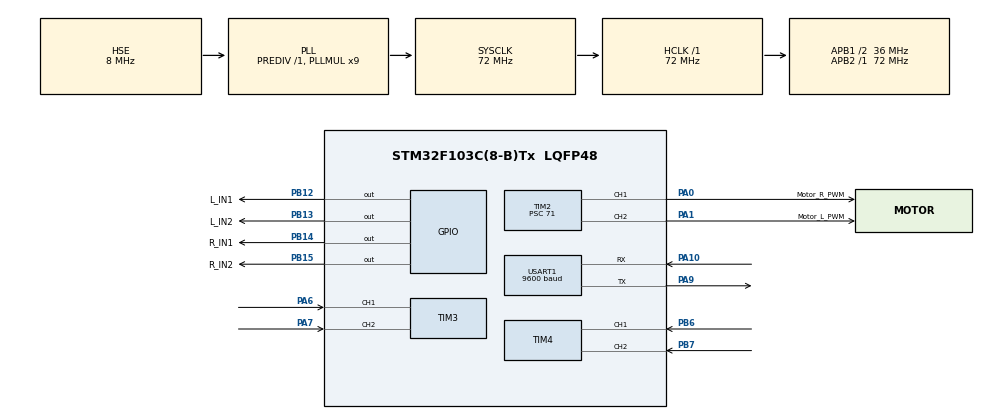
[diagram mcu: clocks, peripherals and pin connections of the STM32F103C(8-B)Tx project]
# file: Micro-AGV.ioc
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Mcu.Family=STM32F1
Mcu.Name=STM32F103C(8-B)Tx
Mcu.Package=LQFP48
NVIC.PriorityGroup=NVIC_PRIORITYGROUP_4
NVIC.USART1_IRQn=true\:0\:0\:false\:false\:true\:true\:true\:true
PA0-WKUP.GPIO_Label=Motor_R_PWM
PA0-WKUP.Signal=S_TIM2_CH1_ETR
PA1.GPIO_Label=Motor_L_PWM
PA1.Signal=S_TIM2_CH2
PA10.Mode=Asynchronous
PA10.Signal=USART1_RX
PA13.Mode=Serial_Wire
PA13.Signal=SYS_JTMS-SWDIO
PA14.Mode=Serial_Wire
PA14.Signal=SYS_JTCK-SWCLK
PA6.Signal=S_TIM3_CH1
PA7.Signal=S_TIM3_CH2
PA9.Mode=Asynchronous
PA9.Signal=USART1_TX
PB12.GPIO_Label=L_IN1
PB12.Signal=GPIO_Output
PB13.GPIO_Label=L_IN2
PB13.Signal=GPIO_Output
PB14.GPIO_Label=R_IN1
PB14.Signal=GPIO_Output
PB15.GPIO_Label=R_IN2
PB15.Signal=GPIO_Output
PB6.Signal=S_TIM4_CH1
PB7.Signal=S_TIM4_CH2
PD0-OSC_IN.Mode=HSE-External-Oscillator
PD0-OSC_IN.Signal=RCC_OSC_IN
PD1-OSC_OUT.Mode=HSE-External-Oscillator
PD1-OSC_OUT.Signal=RCC_OSC_OUT
ProjectManager.HeapSize=0x200
ProjectManager.StackSize=0x400
ProjectManager.TargetToolchain=MDK-ARM V5.32
RCC.AHBFreq_Value=72000000
RCC.APB1CLKDivider=RCC_HCLK_DIV2
RCC.APB1Freq_Value=36000000
RCC.APB1TimFreq_Value=72000000
RCC.APB2Freq_Value=72000000
RCC.APB2TimFreq_Value=72000000
RCC.HCLKFreq_Value=72000000
RCC.PLLMUL=RCC_PLL_MUL9
RCC.PLLSourceVirtual=RCC_PLLSOURCE_HSE
RCC.SYSCLKFreq_VALUE=72000000
RCC.SYSCLKSource=RCC_SYSCLKSOURCE_PLLCLK
RCC.USBFreq_Value=72000000
SH.S_TIM2_CH1_ETR.0=TIM2_CH1,PWM Generation1 CH1
SH.S_TIM2_CH2.0=TIM2_CH2,PWM Generation2 CH2
SH.S_TIM3_CH1.0=TIM3_CH1,Encoder_Interface
SH.S_TIM3_CH2.0=TIM3_CH2,Encoder_Interface
SH.S_TIM4_CH1.0=TIM4_CH1,Encoder_Interface
SH.S_TIM4_CH2.0=TIM4_CH2,Encoder_Interface
TIM2.Channel-PWM\ Generation1\ CH1=TIM_CHANNEL_1
TIM2.Channel-PWM\ Generation2\ CH2=TIM_CHANNEL_2
TIM2.Period=999
TIM2.Prescaler=71
USART1.BaudRate=9600
USART1.VirtualMode=VM_ASYNC
VP_TIM2_VS_ClockSourceINT.Mode=Internal
board=custom

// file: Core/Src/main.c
/* USER CODE BEGIN Header */
/**
 ******************************************************************************
 * @file           : main.c
 * @brief          : Main program body
 ******************************************************************************
 * @attention
 *
 * Copyright (c) 2025 STMicroelectronics.
 * All rights reserved.
 *
 * This software is licensed under terms that can be found in the LICENSE file
 * in the root directory of this software component.
 * If no LICENSE file comes with this software, it is provided AS-IS.
 *
 ******************************************************************************
 */
/* USER CODE END Header */
#include "main.h"

/* USER CODE BEGIN Includes */
#include <math.h>
#include <stdlib.h> // 用于 abs() 函数
#include <string.h>

/* USER CODE END Includes */

TIM_HandleTypeDef htim2;
TIM_HandleTypeDef htim3;
TIM_HandleTypeDef htim4;

UART_HandleTypeDef huart1;

void SystemClock_Config(void);
static void MX_GPIO_Init(void);
static void MX_TIM2_Init(void);
static void MX_USART1_UART_Init(void);
static void MX_TIM3_Init(void);
static void MX_TIM4_Init(void);
/* USER CODE BEGIN PFP */
void Control_Loop(void);
void Set_Motor_Speed(int speed_L, int speed_R);
/* USER CODE END PFP */

/* USER CODE BEGIN 0 */

// --- 硬件调试参数 ---
// 如果发现轮子转动方向相反，或者 PID 导致飞车（正反馈），将对应的 1 改为 -1
#define MOTOR_L_POLARITY 1
#define MOTOR_R_POLARITY 1

// --- 电机引脚控制宏 ---
#define MOTOR_L_FWD()                                                          \
  {                                                                            \
    HAL_GPIO_WritePin(L_IN1_GPIO_Port, L_IN1_Pin, 1);                          \
    HAL_GPIO_WritePin(L_IN2_GPIO_Port, L_IN2_Pin, 0);                          \
  }
#define MOTOR_L_BWD()                                                          \
  {                                                                            \
    HAL_GPIO_WritePin(L_IN1_GPIO_Port, L_IN1_Pin, 0);                          \
    HAL_GPIO_WritePin(L_IN2_GPIO_Port, L_IN2_Pin, 1);                          \
  }
#define MOTOR_L_STOP()                                                         \
  {                                                                            \
    HAL_GPIO_WritePin(L_IN1_GPIO_Port, L_IN1_Pin, 0);                          \
    HAL_GPIO_WritePin(L_IN2_GPIO_Port, L_IN2_Pin, 0);                          \
  }

#define MOTOR_R_FWD()                                                          \
  {                                                                            \
    HAL_GPIO_WritePin(R_IN1_GPIO_Port, R_IN1_Pin, 1);                          \
    HAL_GPIO_WritePin(R_IN2_GPIO_Port, R_IN2_Pin, 0);                          \
  }
#define MOTOR_R_BWD()                                                          \
  {                                                                            \
    HAL_GPIO_WritePin(R_IN1_GPIO_Port, R_IN1_Pin, 0);                          \
    HAL_GPIO_WritePin(R_IN2_GPIO_Port, R_IN2_Pin, 1);                          \
  }
#define MOTOR_R_STOP()                                                         \
  {                                                                            \
    HAL_GPIO_WritePin(R_IN1_GPIO_Port, R_IN1_Pin, 0);                          \
    HAL_GPIO_WritePin(R_IN2_GPIO_Port, R_IN2_Pin, 0);                          \
  }

// --- PWM 与死区设置 ---
#define PWM_MAX_VALUE 1799
#define MOTOR_DEAD_ZONE 200 // 电机死区补偿值 (根据实测调整，通常 150-300)

// 设置电机速度 (输入范围: -1799 到 1799)
void Set_Motor_Speed(int pwm_L, int pwm_R) {
  // --- 左轮控制 ---
  int out_L = pwm_L;
  // 死区补偿：如果有输出，则加上死区值
  if (out_L > 0)
    out_L += MOTOR_DEAD_ZONE;
  else if (out_L < 0)
    out_L -= MOTOR_DEAD_ZONE;

  // 限幅
  if (out_L > PWM_MAX_VALUE)
    out_L = PWM_MAX_VALUE;
  if (out_L < -PWM_MAX_VALUE)
    out_L = -PWM_MAX_VALUE;

  // 驱动硬件
  if (out_L > 0)
    MOTOR_L_FWD()
  else if (out_L < 0)
    MOTOR_L_BWD()
  else
    MOTOR_L_STOP();

  __HAL_TIM_SET_COMPARE(&htim2, TIM_CHANNEL_2, abs(out_L));

  // --- 右轮控制 ---
  int out_R = pwm_R;
  if (out_R > 0)
    out_R += MOTOR_DEAD_ZONE;
  else if (out_R < 0)
    out_R -= MOTOR_DEAD_ZONE;

  if (out_R > PWM_MAX_VALUE)
    out_R = PWM_MAX_VALUE;
  if (out_R < -PWM_MAX_VALUE)
    out_R = -PWM_MAX_VALUE;

  if (out_R > 0)
    MOTOR_R_FWD()
  else if (out_R < 0)
    MOTOR_R_BWD()
  else
    MOTOR_R_STOP();

  __HAL_TIM_SET_COMPARE(&htim2, TIM_CHANNEL_1, abs(out_R));
}

// --- 物理参数 ---
#define PULSE_PER_TURN 2060.0f // 编码器每圈脉冲数
#define WHEEL_DIAMETER 0.064f  // 轮子直径 64mm
#define WHEEL_CIRCUMFERENCE (3.14159f * WHEEL_DIAMETER)
#define CONTROL_PERIOD 50 // 控制周期 50ms

// 速度转换系数: (脉冲数 -> m/s)
const float SPEED_RATIO =
    (WHEEL_CIRCUMFERENCE / PULSE_PER_TURN) * (1000.0f / CONTROL_PERIOD);

// 编码器历史值
int16_t last_count_L = 0;
int16_t last_count_R = 0;

// --- 速度控制变量 ---
// final_speed: 蓝牙下达的最终目标速度
volatile float final_speed_L = 0.0f;
volatile float final_speed_R = 0.0f;
// ramped_speed: 送给 PID 的平滑后目标速度 (解决起步猛冲)
float ramped_speed_L = 0.0f;
float ramped_speed_R = 0.0f;
// current_speed: 实际测量速度
float current_speed_L = 0.0f;
float current_speed_R = 0.0f;

// --- 平滑启动参数 ---
// 加速度限制: 每次 50ms 周期速度变化不超过 0.02m/s
// 相当于 0.4 m/s^2 的加速度，起步会很柔和
#define ACCEL_STEP 0.02f

// --- 安全看门狗 ---
uint32_t last_rx_time = 0; // 上一次收到串口数据的时间戳
#define COM_TIMEOUT 500    // 超时时间 500ms (验收标准要求具备自动急停)

// PID 结构体
typedef struct {
  float Kp, Ki, Kd;
  float prev_error;
  float integral;
  float i_limit;
} PID_t;

// PID 参数 (针对 JGA25-370 调整)
// Kp: 响应力度, Ki: 消除静态误差(跑直线的关键), Kd: 抑制震荡
PID_t pid_L = {600.0f, 78.0f, 0.0f, 0.0f, 0.0f, 1500.0f};
PID_t pid_R = {600.0f, 80.0f, 0.0f, 0.0f, 0.0f, 1500.0f};

uint32_t last_time = 0;

// 串口变量
// 接收缓冲区，用于 HAL_UART_Receive_IT
uint8_t rx_buffer[1];
// 数据帧缓冲区，用于存储接收到的完整数据帧
uint8_t data_buffer[10];
// 数据帧当前接收到的字节数
uint8_t data_index = 0;
// 串口接收状态机
#define STATE_WAIT_HEADER 0
#define STATE_RECEIVE_BODY 1
uint8_t rx_state = STATE_WAIT_HEADER;

// 电机方向定义 (根据实际接线调整 1 或 -1)
#define MOTOR_L_POLARITY 1
#define MOTOR_R_POLARITY 1

// 运动模式定义
#define MODE_SPEED 0x01 // 速度控制模式
#define MODE_TURN_ANGLE 0x02 // 转向角度控制模式
#define MODE_TURN_LEFT 0x03 // 左转模式
#define MODE_TURN_RIGHT 0x04 // 右转模式
#define MODE_ROTATE_LEFT 0x05 // 左自转模式
#define MODE_ROTATE_RIGHT 0x06 // 右自转模式

// 转向控制变量
volatile float target_angle = 0.0f; // 目标转向角度 (度)
/* USER CODE END 0 */

int main(void) {

  /* MCU Configuration--------------------------------------------------------*/

  /* Reset of all peripherals, Initializes the Flash interface and the Systick.
   */
  HAL_Init();

  /* Configure the system clock */
  SystemClock_Config();

  /* Initialize all configured peripherals */
  MX_GPIO_Init();
  MX_TIM2_Init();
  MX_USART1_UART_Init();
  MX_TIM3_Init();
  MX_TIM4_Init();
  /* USER CODE BEGIN 2 */

  // --- 强制初始化 PA0 和 PA1 为复用推挽输出 (PWM模式) ---
  // 1. 开启 GPIOA 时钟
  __HAL_RCC_GPIOA_CLK_ENABLE();

  GPIO_InitTypeDef GPIO_InitStruct = {0};

  // 2. 配置 PA0 (TIM2_CH1) 和 PA1 (TIM2_CH2)
  GPIO_InitStruct.Pin = GPIO_PIN_0 | GPIO_PIN_1;
  GPIO_InitStruct.Mode = GPIO_MODE_AF_PP; // 关键：复用推挽输出
  GPIO_InitStruct.Speed = GPIO_SPEED_FREQ_HIGH;
  HAL_GPIO_Init(GPIOA, &GPIO_InitStruct);

  // 1. 开启 PWM 输出
  HAL_TIM_PWM_Start(&htim2, TIM_CHANNEL_1);
  HAL_TIM_PWM_Start(&htim2, TIM_CHANNEL_2);

  // 2. 开启编码器计数模式
  HAL_TIM_Encoder_Start(&htim3, TIM_CHANNEL_ALL);
  HAL_TIM_Encoder_Start(&htim4, TIM_CHANNEL_ALL);

  // 开启串口中断
  HAL_UART_Receive_IT(&huart1, rx_buffer, 1);

  // 初始化看门狗时间
  last_rx_time = HAL_GetTick();

  // 初始化编码器计数器为0，防止启动时有随机值
  __HAL_TIM_SET_COUNTER(&htim3, 0);
  __HAL_TIM_SET_COUNTER(&htim4, 0);

  // 5. 初始化时间戳
  last_time = HAL_GetTick();

  /* USER CODE END 2 */

  /* Infinite loop */
  /* USER CODE BEGIN WHILE */
  // HAL_GPIO_WritePin(GPIOA, GPIO_PIN_0, GPIO_PIN_SET);
  // GPIOA->CRL &= 0xFFFFFFF0; GPIOA->CRL |= 0x00000003; GPIOA->ODR |= 1;
  while (1) {
    // 50ms 控制周期
    if (HAL_GetTick() - last_time >= CONTROL_PERIOD) {
      last_time = HAL_GetTick();
      Control_Loop();
    }

    /* USER CODE END WHILE */

  }
}

void SystemClock_Config(void) {
  RCC_OscInitTypeDef RCC_OscInitStruct = {0};
  RCC_ClkInitTypeDef RCC_ClkInitStruct = {0};

  /** Initializes the RCC Oscillators according to the specified parameters
   * in the RCC_OscInitTypeDef structure.
   */
  RCC_OscInitStruct.OscillatorType = RCC_OSCILLATORTYPE_HSE;
  RCC_OscInitStruct.HSEState = RCC_HSE_ON;
  RCC_OscInitStruct.HSEPredivValue = RCC_HSE_PREDIV_DIV1;
  RCC_OscInitStruct.HSIState = RCC_HSI_ON;
  RCC_OscInitStruct.PLL.PLLState = RCC_PLL_ON;
  RCC_OscInitStruct.PLL.PLLSource = RCC_PLLSOURCE_HSE;
  RCC_OscInitStruct.PLL.PLLMUL = RCC_PLL_MUL9;
  if (HAL_RCC_OscConfig(&RCC_OscInitStruct) != HAL_OK) {
    Error_Handler();
  }

  /** Initializes the CPU, AHB and APB buses clocks
   */
  RCC_ClkInitStruct.ClockType = RCC_CLOCKTYPE_HCLK | RCC_CLOCKTYPE_SYSCLK |
                                RCC_CLOCKTYPE_PCLK1 | RCC_CLOCKTYPE_PCLK2;
  RCC_ClkInitStruct.SYSCLKSource = RCC_SYSCLKSOURCE_PLLCLK;
  RCC_ClkInitStruct.AHBCLKDivider = RCC_SYSCLK_DIV1;
  RCC_ClkInitStruct.APB1CLKDivider = RCC_HCLK_DIV2;
  RCC_ClkInitStruct.APB2CLKDivider = RCC_HCLK_DIV1;

  if (HAL_RCC_ClockConfig(&RCC_ClkInitStruct, FLASH_LATENCY_2) != HAL_OK) {
    Error_Handler();
  }
}

static void MX_TIM2_Init(void) {
  TIM_ClockConfigTypeDef sClockSourceConfig = {0};
  TIM_MasterConfigTypeDef sMasterConfig = {0};
  TIM_OC_InitTypeDef sConfigOC = {0};

  htim2.Instance = TIM2;
  htim2.Init.Prescaler = 7;
  htim2.Init.CounterMode = TIM_COUNTERMODE_UP;
  htim2.Init.Period = 1799;
  htim2.Init.ClockDivision = TIM_CLOCKDIVISION_DIV1;
  htim2.Init.AutoReloadPreload = TIM_AUTORELOAD_PRELOAD_DISABLE;
  if (HAL_TIM_Base_Init(&htim2) != HAL_OK) {
    Error_Handler();
  }
  sClockSourceConfig.ClockSource = TIM_CLOCKSOURCE_INTERNAL;
  if (HAL_TIM_ConfigClockSource(&htim2, &sClockSourceConfig) != HAL_OK) {
    Error_Handler();
  }
  if (HAL_TIM_PWM_Init(&htim2) != HAL_OK) {
    Error_Handler();
  }

  // ===============================================
  // 重点修正：在这里直接由硬件工程师“手写”引脚配置，确保生效！
  // ===============================================

  // 1. 开启 GPIOA 时钟 (非常重要，漏了这个就全完了)
  __HAL_RCC_GPIOA_CLK_ENABLE();

  // 2. 定义 GPIO 结构体
  GPIO_InitTypeDef GPIO_InitStruct = {0};

  // 3. 配置 PA0 和 PA1
  // 注意：Mode 必须是 GPIO_MODE_AF_PP (复用推挽输出)
  // 只有这样，定时器的信号才能通过引脚发出来
  GPIO_InitStruct.Pin = GPIO_PIN_0 | GPIO_PIN_1;
  GPIO_InitStruct.Mode = GPIO_MODE_AF_PP;
  GPIO_InitStruct.Speed = GPIO_SPEED_FREQ_HIGH;
  HAL_GPIO_Init(GPIOA, &GPIO_InitStruct);
  // ===============================================

  sMasterConfig.MasterOutputTrigger = TIM_TRGO_RESET;
  sMasterConfig.MasterSlaveMode = TIM_MASTERSLAVEMODE_DISABLE;
  if (HAL_TIMEx_MasterConfigSynchronization(&htim2, &sMasterConfig) != HAL_OK) {
    Error_Handler();
  }
  sConfigOC.OCMode = TIM_OCMODE_PWM1;
  sConfigOC.Pulse = 0;
  sConfigOC.OCPolarity = TIM_OCPOLARITY_HIGH;
  sConfigOC.OCFastMode = TIM_OCFAST_DISABLE;
  if (HAL_TIM_PWM_ConfigChannel(&htim2, &sConfigOC, TIM_CHANNEL_1) != HAL_OK) {
    Error_Handler();
  }
  if (HAL_TIM_PWM_ConfigChannel(&htim2, &sConfigOC, TIM_CHANNEL_2) != HAL_OK) {
    Error_Handler();
  }

  // 这一行可以注释掉，也可以留着，反正我们在上面已经手动执行过真正的初始化了
  HAL_TIM_MspPostInit(&htim2);
}

static void MX_TIM3_Init(void) {

  TIM_Encoder_InitTypeDef sConfig = {0};
  TIM_MasterConfigTypeDef sMasterConfig = {0};

  htim3.Instance = TIM3;
  htim3.Init.Prescaler = 0;
  htim3.Init.CounterMode = TIM_COUNTERMODE_UP;
  htim3.Init.Period = 65535;
  htim3.Init.ClockDivision = TIM_CLOCKDIVISION_DIV1;
  htim3.Init.AutoReloadPreload = TIM_AUTORELOAD_PRELOAD_DISABLE;
  sConfig.EncoderMode = TIM_ENCODERMODE_TI12;
  sConfig.IC1Polarity = TIM_ICPOLARITY_RISING;
  sConfig.IC1Selection = TIM_ICSELECTION_DIRECTTI;
  sConfig.IC1Prescaler = TIM_ICPSC_DIV1;
  sConfig.IC1Filter = 0;
  sConfig.IC2Polarity = TIM_ICPOLARITY_RISING;
  sConfig.IC2Selection = TIM_ICSELECTION_DIRECTTI;
  sConfig.IC2Prescaler = TIM_ICPSC_DIV1;
  sConfig.IC2Filter = 0;
  if (HAL_TIM_Encoder_Init(&htim3, &sConfig) != HAL_OK) {
    Error_Handler();
  }
  sMasterConfig.MasterOutputTrigger = TIM_TRGO_RESET;
  sMasterConfig.MasterSlaveMode = TIM_MASTERSLAVEMODE_DISABLE;
  if (HAL_TIMEx_MasterConfigSynchronization(&htim3, &sMasterConfig) != HAL_OK) {
    Error_Handler();
  }
}

static void MX_TIM4_Init(void) {

  TIM_Encoder_InitTypeDef sConfig = {0};
  TIM_MasterConfigTypeDef sMasterConfig = {0};

  htim4.Instance = TIM4;
  htim4.Init.Prescaler = 0;
  htim4.Init.CounterMode = TIM_COUNTERMODE_UP;
  htim4.Init.Period = 65535;
  htim4.Init.ClockDivision = TIM_CLOCKDIVISION_DIV1;
  htim4.Init.AutoReloadPreload = TIM_AUTORELOAD_PRELOAD_DISABLE;
  sConfig.EncoderMode = TIM_ENCODERMODE_TI12;
  sConfig.IC1Polarity = TIM_ICPOLARITY_RISING;
  sConfig.IC1Selection = TIM_ICSELECTION_DIRECTTI;
  sConfig.IC1Prescaler = TIM_ICPSC_DIV1;
  sConfig.IC1Filter = 0;
  sConfig.IC2Polarity = TIM_ICPOLARITY_RISING;
  sConfig.IC2Selection = TIM_ICSELECTION_DIRECTTI;
  sConfig.IC2Prescaler = TIM_ICPSC_DIV1;
  sConfig.IC2Filter = 0;
  if (HAL_TIM_Encoder_Init(&htim4, &sConfig) != HAL_OK) {
    Error_Handler();
  }
  sMasterConfig.MasterOutputTrigger = TIM_TRGO_RESET;
  sMasterConfig.MasterSlaveMode = TIM_MASTERSLAVEMODE_DISABLE;
  if (HAL_TIMEx_MasterConfigSynchronization(&htim4, &sMasterConfig) != HAL_OK) {
    Error_Handler();
  }
}

static void MX_USART1_UART_Init(void) {

  huart1.Instance = USART1;
  huart1.Init.BaudRate = 9600;
  huart1.Init.WordLength = UART_WORDLENGTH_8B;
  huart1.Init.StopBits = UART_STOPBITS_1;
  huart1.Init.Parity = UART_PARITY_NONE;
  huart1.Init.Mode = UART_MODE_TX_RX;
  huart1.Init.HwFlowCtl = UART_HWCONTROL_NONE;
  huart1.Init.OverSampling = UART_OVERSAMPLING_16;
  if (HAL_UART_Init(&huart1) != HAL_OK) {
    Error_Handler();
  }
}

static void MX_GPIO_Init(void) {
  GPIO_InitTypeDef GPIO_InitStruct = {0};

  /* GPIO Ports Clock Enable */
  __HAL_RCC_GPIOD_CLK_ENABLE();
  __HAL_RCC_GPIOA_CLK_ENABLE();
  __HAL_RCC_GPIOB_CLK_ENABLE();

  /*Configure GPIO pin Output Level */
  HAL_GPIO_WritePin(GPIOB, L_IN1_Pin | L_IN2_Pin | R_IN1_Pin | R_IN2_Pin,
                    GPIO_PIN_RESET);

  /*Configure GPIO pins : L_IN1_Pin L_IN2_Pin R_IN1_Pin R_IN2_Pin */
  GPIO_InitStruct.Pin = L_IN1_Pin | L_IN2_Pin | R_IN1_Pin | R_IN2_Pin;
  GPIO_InitStruct.Mode = GPIO_MODE_OUTPUT_PP;
  GPIO_InitStruct.Pull = GPIO_NOPULL;
  GPIO_InitStruct.Speed = GPIO_SPEED_FREQ_LOW;
  HAL_GPIO_Init(GPIOB, &GPIO_InitStruct);

}

/* USER CODE BEGIN 4 */

// --- 串口接收回调 ---
// 串口接收中断回调函数
void HAL_UART_RxCpltCallback(UART_HandleTypeDef *huart) {
  if (huart->Instance == USART1) {
    // 喂狗：只要有中断进来，就更新时间戳
    // 注意：更严格的做法是校验成功后再更新，但防断连这样够用了
    last_rx_time = HAL_GetTick();

    uint8_t received_byte = rx_buffer[0];

    switch (rx_state) {
    case STATE_WAIT_HEADER:
      if (received_byte == 0xA5) { // 帧头检测
        data_index = 0;
        data_buffer[data_index++] = received_byte;
        rx_state = STATE_RECEIVE_BODY;
      }
      break;

    case STATE_RECEIVE_BODY:
      if (data_index < sizeof(data_buffer)) {
        data_buffer[data_index++] = received_byte;
        // 假设数据帧格式为：A5 [功能码] [数据1] [数据2] ... [数据N] [校验和]
        // 速度控制帧：A5 01 [速度值] 00 00 00 00 00 [校验和] (共9字节，速度值1字节)
        // 转向角度控制帧：A5 02 [角度高字节] [角度低字节] 00 00 00 00 [校验和] (共9字节，角度值2字节)
        // 左转/右转/左自转/右自转帧：A5 0X [速度值] 00 00 00 00 00 [校验和] (共9字节，速度值1字节)
        // 这里简化处理，只检查到第9个字节
        if (data_index >= 9) { // 接收完整一帧 (帧头 + 功能码 + 6字节数据 + 校验和)
          uint8_t function_code = data_buffer[1];
          uint8_t checksum = 0;
          for (int i = 0; i < 8; i++) { // 计算校验和 (从帧头到数据N)
            checksum += data_buffer[i];
          }

          if (checksum == data_buffer[8]) { // 校验和正确
            if (function_code == MODE_SPEED) { // 速度控制模式
              // 数据格式: A5 01 [速度值] 00 00 00 00 00 [校验和]
              // 速度值范围 -100 到 100，对应 -1.0m/s 到 1.0m/s
              int8_t speed_cmd = (int8_t)data_buffer[2];
              float target = speed_cmd / 100.0f; // 解析速度，转换为 m/s

              // 更新最终目标速度
              final_speed_L = target;
              final_speed_R = target;

            } else if (function_code == MODE_TURN_ANGLE) { // 转向角度控制模式
              // 数据格式: A5 02 [角度高字节] [角度低字节] 00 00 00 00 [校验和]
              // 角度值范围 -36000 到 36000，对应 -360.00度 到 360.00度
              // 实际发送时，将角度值乘以100，然后拆分成高低字节发送
              // 例如：发送 90.50 度，则发送 9050，高字节为 (9050 >> 8) & 0xFF，低字节为 9050 & 0xFF
              int16_t angle_cmd = (int16_t)((data_buffer[2] << 8) | data_buffer[3]);
              target_angle = (float)angle_cmd / 100.0f; // 解析角度，转换为度

              // 在这里，你可以根据 target_angle 设置左右轮的差速，实现转向
              // 例如：
              // 如果 target_angle > 0，左转，左轮速度减小，右轮速度增大
              // 如果 target_angle < 0，右转，左轮速度增大，右轮速度减小
              // 具体的转向逻辑需要在 Control_Loop 中实现，这里只是接收指令
              // 为了简化，这里暂时只更新 target_angle，Control_Loop 会根据此值进行调整
              // 注意：这里只是一个示例，实际的转向控制可能需要更复杂的算法
            } else if (function_code == MODE_TURN_LEFT) { // 左转模式
              int8_t speed_cmd = (int8_t)data_buffer[2];
              float target_speed = speed_cmd / 100.0f;
              final_speed_L = target_speed * 0.5f; // 左轮减速
              final_speed_R = target_speed * 1.0f; // 右轮保持
            } else if (function_code == MODE_TURN_RIGHT) { // 右转模式
              int8_t speed_cmd = (int8_t)data_buffer[2];
              float target_speed = speed_cmd / 100.0f;
              final_speed_L = target_speed * 1.0f; // 左轮保持
              final_speed_R = target_speed * 0.5f; // 右轮减速
            } else if (function_code == MODE_ROTATE_LEFT) { // 左自转模式
              int8_t speed_cmd = (int8_t)data_buffer[2];
              float target_speed = speed_cmd / 100.0f;
              final_speed_L = -target_speed; // 左轮反转
              final_speed_R = target_speed;  // 右轮正转
            } else if (function_code == MODE_ROTATE_RIGHT) { // 右自转模式
              int8_t speed_cmd = (int8_t)data_buffer[2];
              float target_speed = speed_cmd / 100.0f;
              final_speed_L = target_speed;  // 左轮正转
              final_speed_R = -target_speed; // 右轮反转
            }
          }

          data_index = 0;
          rx_state = STATE_WAIT_HEADER;
        }

      } else { // 数据溢出，重新等待帧头
        data_index = 0;
        data_buffer[data_index++] = received_byte;
        rx_state = STATE_RECEIVE_BODY;
      }
      break;
    }
    HAL_UART_Receive_IT(&huart1, rx_buffer, 1);
  }
}

// --- PID 计算核心 ---
// --- PID 计算函数 ---
// 输入：目标速度，当前速度，PID参数包
// 输出：PWM值 (-1000 ~ 1000)
int16_t PID_Compute(float target, float current, PID_t *pid) {
  float error = target - current;

  // 积分项 (消除静差)
  pid->integral += error;

  // 积分限幅 (使用 struct 中的 i_limit)
  if (pid->integral > pid->i_limit)
    pid->integral = pid->i_limit;
  if (pid->integral < -pid->i_limit)
    pid->integral = -pid->i_limit;

  // 微分项 (阻尼作用)
  float derivative = error - pid->prev_error;

  // PID 公式
  float output =
      (pid->Kp * error) + (pid->Ki * pid->integral) + (pid->Kd * derivative);

  pid->prev_error = error;

  // PWM 限幅 (应与 PWM_MAX_VALUE 匹配)
  if (output > PWM_MAX_VALUE)
    output = PWM_MAX_VALUE;
  if (output < -PWM_MAX_VALUE)
    output = -PWM_MAX_VALUE;

  return (int16_t)output;
}

// --- 速度斜坡函数 (实现平稳起步的关键) ---
// 将 current 向 target 靠近，但每次变化量不超过 step
float Apply_Ramp(float current, float target, float step) {
  if (current < target) {
    current += step;
    if (current > target)
      current = target; // 防止超调
  } else if (current > target) {
    current -= step;
    if (current < target)
      current = target;
  }
  return current;
}

void Control_Loop(void) {
  // 1. 安全检查：通信超时自动急停 (如果你想测试长跑，把 COM_TIMEOUT 改大，比如 5000)
  if (HAL_GetTick() - last_rx_time > COM_TIMEOUT) {
    final_speed_L = 0.0f;
    final_speed_R = 0.0f;
  }

  // 2. 速度平滑处理 (斜坡算法)
  ramped_speed_L = Apply_Ramp(ramped_speed_L, final_speed_L, ACCEL_STEP);
  ramped_speed_R = Apply_Ramp(ramped_speed_R, final_speed_R, ACCEL_STEP);

  // 3. 读取编码器并计算真实速度
  int16_t cur_cnt_L = (int16_t)__HAL_TIM_GET_COUNTER(&htim3);
  int16_t cur_cnt_R = (int16_t)__HAL_TIM_GET_COUNTER(&htim4);

  int16_t diff_L = (cur_cnt_L - last_count_L) * MOTOR_L_POLARITY;
  int16_t diff_R = (cur_cnt_R - last_count_R) * MOTOR_R_POLARITY;

  last_count_L = cur_cnt_L;
  last_count_R = cur_cnt_R;

  current_speed_L = (float)diff_L * SPEED_RATIO;
  current_speed_R = (float)diff_R * SPEED_RATIO;

  // 4. PID 计算 (新增：静止死锁逻辑，解决抽搐问题)
  int16_t pwm_out_L = 0;
  int16_t pwm_out_R = 0;

  // --- 左轮处理 ---
  // 如果目标速度极小（认为是要停车），强制关断
  if (fabs(ramped_speed_L) < 0.001f) {
      pwm_out_L = 0;
      pid_L.integral = 0.0f;     // 清除积分，防止再次启动时猛冲
      pid_L.prev_error = 0.0f;   // 清除微分历史
  } else {
      // 只有在需要动的时候，才启动 PID
      pwm_out_L = PID_Compute(ramped_speed_L, current_speed_L, &pid_L);
  }

  // --- 右轮处理 ---
  if (fabs(ramped_speed_R) < 0.001f) {
      pwm_out_R = 0;
      pid_R.integral = 0.0f;
      pid_R.prev_error = 0.0f;
  } else {
      pwm_out_R = PID_Compute(ramped_speed_R, current_speed_R, &pid_R);
  }

  // 5. 执行输出
  Set_Motor_Speed(pwm_out_L, pwm_out_R);
}
/* USER CODE END 4 */

void Error_Handler(void) {
  __disable_irq();
  while (1) {
  }
}

#ifdef USE_FULL_ASSERT
/**
 * @brief  Reports the name of the source file and the source line number
 *         where the assert_param error has occurred.
 * @param  file: pointer to the source file name
 * @param  line: assert_param error line source number
 * @retval None
 */
void assert_failed(uint8_t *file, uint32_t line) {
  /* USER CODE BEGIN 6 */
  /* User can add his own implementation to report the file name and line
     number, ex: printf("Wrong parameters value: file %s on line %d\r\n", file,
     line) */
  /* USER CODE END 6 */
}
#endif /* USE_FULL_ASSERT */
